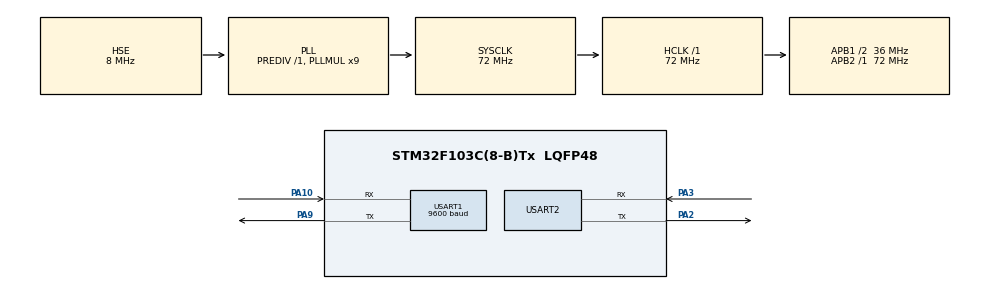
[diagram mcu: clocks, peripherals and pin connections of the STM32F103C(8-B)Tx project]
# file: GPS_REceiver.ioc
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Mcu.Family=STM32F1
Mcu.Name=STM32F103C(8-B)Tx
Mcu.Package=LQFP48
NVIC.PriorityGroup=NVIC_PRIORITYGROUP_4
NVIC.TIM1_UP_IRQn=true\:0\:0\:false\:false\:true\:true\:true
NVIC.USART1_IRQn=true\:0\:0\:false\:false\:true\:true\:true
PA10.Mode=Asynchronous
PA10.Signal=USART1_RX
PA13.Mode=Serial_Wire
PA13.Signal=SYS_JTMS-SWDIO
PA14.Mode=Serial_Wire
PA14.Signal=SYS_JTCK-SWCLK
PA2.Mode=Asynchronous
PA2.Signal=USART2_TX
PA3.Mode=Asynchronous
PA3.Signal=USART2_RX
PA9.Mode=Asynchronous
PA9.Signal=USART1_TX
PD0-OSC_IN.Mode=HSE-External-Oscillator
PD0-OSC_IN.Signal=RCC_OSC_IN
PD1-OSC_OUT.Mode=HSE-External-Oscillator
PD1-OSC_OUT.Signal=RCC_OSC_OUT
ProjectManager.HeapSize=0x200
ProjectManager.StackSize=0x400
ProjectManager.TargetToolchain=STM32CubeIDE
RCC.AHBFreq_Value=72000000
RCC.APB1CLKDivider=RCC_HCLK_DIV2
RCC.APB1Freq_Value=36000000
RCC.APB1TimFreq_Value=72000000
RCC.APB2Freq_Value=72000000
RCC.APB2TimFreq_Value=72000000
RCC.HCLKFreq_Value=72000000
RCC.PLLMUL=RCC_PLL_MUL9
RCC.PLLSourceVirtual=RCC_PLLSOURCE_HSE
RCC.SYSCLKFreq_VALUE=72000000
RCC.SYSCLKSource=RCC_SYSCLKSOURCE_PLLCLK
RCC.USBFreq_Value=72000000
TIM1.Period=1000-1
TIM1.Prescaler=72-1
USART1.BaudRate=9600
USART1.VirtualMode=VM_ASYNC
USART2.VirtualMode=VM_ASYNC
VP_TIM1_VS_ClockSourceINT.Mode=Internal
board=custom

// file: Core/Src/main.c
/* USER CODE BEGIN Header */
/**
 ******************************************************************************
 * @file           : main.c
 * @brief          : Main program body
 ******************************************************************************
 * @attention
 *
 * <h2><center>&copy; Copyright (c) 2024 STMicroelectronics.
 * All rights reserved.</center></h2>
 *
 * This software component is licensed by ST under BSD 3-Clause license,
 * the "License"; You may not use this file except in compliance with the
 * License. You may obtain a copy of the License at:
 *                        opensource.org/licenses/BSD-3-Clause
 *
 ******************************************************************************
 */
/* USER CODE END Header */
#include "main.h"

/* USER CODE BEGIN Includes */
#include "UARTRingBuffer.h"
#include "NMEA.h"
#include "stdio.h"
#include "stdarg.h"
#include "string.h"

/* USER CODE END Includes */

TIM_HandleTypeDef htim1;

UART_HandleTypeDef huart1;
UART_HandleTypeDef huart2;

/* USER CODE BEGIN PV */
char GGA[100];
char RMC[100];
GPSSTRUCT gpsData;
char GPSBuffer[31];

int flagGPS = 0;
int flagGGA = 0, flagRMC = 0;

int GPSFlag = 0;

uint32_t mSEC = 0;
uint32_t s = 0;
uint8_t m = 0;
uint8_t h = 0;

int count = 0;
int data;

/* USER CODE END PV */

void SystemClock_Config(void);
static void MX_GPIO_Init(void);
static void MX_USART1_UART_Init(void);
static void MX_TIM1_Init(void);
static void MX_USART2_UART_Init(void);
/* USER CODE BEGIN PFP */
void getGPSData();
int bufferSize(char *buffer);
void myDebug(const char *fmt, ...);

/* USER CODE END PFP */

/* USER CODE BEGIN 0 */

void HAL_TIM_PeriodElapsedCallback(TIM_HandleTypeDef *htim) {

	if (htim == &htim1) {
		mSEC++;

		if (mSEC > 999) {
			mSEC = 0;
			s++;
			count++;
		}

		if (count == 10) {
			GPSFlag = 1;
			count = 0;
		}

		if (s > 59) {
			s = 0;
			m++;
		}

		if (m > 59) {
			m = 0;
			h++;
		}

		if (h > 23) {
			h = 0;
			m = 0;
			s = 0;
		}
	}
}

void myDebug(const char *fmt, ...) {
	static char temp[100];
	va_list args;
	va_start(args, fmt);
	vsnprintf(temp, sizeof(temp), fmt, args);
	va_end(args);
	int len = bufferSize(temp);
	HAL_UART_Transmit(&huart2, (uint8_t*) temp, len, 1000);
}

int bufferSize(char *buffer) {
	int i = 0;
	while (*buffer++ != '\0')
		i++;
	return i;
}

void getGPSData() {

	if (Wait_for("RMC") == 1) {
		Copy_upto("*", RMC);
//		for (int i = 0; i < sizeof(RMC); i++) {
//			myDebug("%c", RMC[i]);
//		}
//		myDebug("\r\n");

		int inx = 0;
		while (RMC[inx] != ',')
			inx++;  // 1st  ,
		inx++;
		while (RMC[inx] != ',')
			inx++; // after time ,
		inx++;
		if (RMC[inx] == 'A') {
			if (decodeRMC(RMC, &gpsData.rmcstruct) == 0)
				flagRMC = 2;  // 2 indicates the data is valid
			else
				flagRMC = 1;  // 1 indicates the data is invalid
		}
		//myDebug("$\r\n");
	}

	if (Wait_for("GGA") == 1) { // if 'GGA' detected then returns 1
		Copy_upto("*", GGA);
//		for (int i = 0; i < sizeof(GGA); i++) {
//			myDebug("%c", GGA[i]);
//		}
//		myDebug("\r\n");

		int inx = 0;
		while (GGA[inx] != ',')
			inx++; // 1st ','
		inx++;
		while (GGA[inx] != ',')
			inx++; //After time ','
		inx++;
		while (GGA[inx] != ',')
			inx++; // after latitude ','
		inx++;
		while (GGA[inx] != ',')
			inx++; //After NS ','
		inx++;
		while (GGA[inx] != ',')
			inx++; // After longitude ','
		inx++;
		while (GGA[inx] != ',')
			inx++; //After EW ','
		inx++; // reach the character to identify the fix

		if (GGA[inx] == '1') {
			if (decodeGGA(GGA, &gpsData.ggastruct) == 0)
				flagGGA = 2;  // 2 indicates the data is valid
			else
				flagGGA = 1;  // 1 indicates the data is invalid
		}
		//myDebug("*\r\n");
	}

	if ((flagGGA == 2) | (flagRMC == 2)) {

		sprintf(GPSBuffer, "%02d%02d%02d,%02d%02d%02d,%.2f%c,%.2f%c,%.2f",
				gpsData.ggastruct.tim.hour, gpsData.ggastruct.tim.min,
				gpsData.ggastruct.tim.sec,

				gpsData.rmcstruct.date.Day, gpsData.rmcstruct.date.Mon,
				gpsData.rmcstruct.date.Yr,

				gpsData.ggastruct.location.latitude,
				gpsData.ggastruct.location.NS,
				gpsData.ggastruct.location.longitude,
				gpsData.ggastruct.location.EW,

				gpsData.rmcstruct.speed);

		myDebug(GPSBuffer);
		myDebug("\r\n");
	}

	flagGGA = 0;
	flagRMC = 0;
	memset(RMC, '\0', sizeof(RMC));
	memset(GGA, '\0', sizeof(GGA));
	memset(GPSBuffer, '\0', sizeof(GPSBuffer));
	Uart_flush();
}

/* USER CODE END 0 */

int main(void) {

	/* MCU Configuration--------------------------------------------------------*/

	/* Reset of all peripherals, Initializes the Flash interface and the Systick. */
	HAL_Init();

	/* Configure the system clock */
	SystemClock_Config();

	/* Initialize all configured peripherals */
	MX_GPIO_Init();
	MX_USART1_UART_Init();
	MX_TIM1_Init();
	MX_USART2_UART_Init();
	/* USER CODE BEGIN 2 */
	HAL_TIM_Base_Start_IT(&htim1);

	Ringbuf_init();
	HAL_Delay(500);

	/* USER CODE END 2 */

	/* Infinite loop */
	while (1) {

		/* USER CODE BEGIN 3 */
		if (GPSFlag) {
			getGPSData();
			HAL_Delay(2000);
			GPSFlag = 0;
		}
	}
	/* USER CODE END 3 */
}

void SystemClock_Config(void) {
	RCC_OscInitTypeDef RCC_OscInitStruct = { 0 };
	RCC_ClkInitTypeDef RCC_ClkInitStruct = { 0 };

	/** Initializes the RCC Oscillators according to the specified parameters
	 * in the RCC_OscInitTypeDef structure.
	 */
	RCC_OscInitStruct.OscillatorType = RCC_OSCILLATORTYPE_HSE;
	RCC_OscInitStruct.HSEState = RCC_HSE_ON;
	RCC_OscInitStruct.HSEPredivValue = RCC_HSE_PREDIV_DIV1;
	RCC_OscInitStruct.HSIState = RCC_HSI_ON;
	RCC_OscInitStruct.PLL.PLLState = RCC_PLL_ON;
	RCC_OscInitStruct.PLL.PLLSource = RCC_PLLSOURCE_HSE;
	RCC_OscInitStruct.PLL.PLLMUL = RCC_PLL_MUL9;
	if (HAL_RCC_OscConfig(&RCC_OscInitStruct) != HAL_OK) {
		Error_Handler();
	}
	/** Initializes the CPU, AHB and APB buses clocks
	 */
	RCC_ClkInitStruct.ClockType = RCC_CLOCKTYPE_HCLK | RCC_CLOCKTYPE_SYSCLK
			| RCC_CLOCKTYPE_PCLK1 | RCC_CLOCKTYPE_PCLK2;
	RCC_ClkInitStruct.SYSCLKSource = RCC_SYSCLKSOURCE_PLLCLK;
	RCC_ClkInitStruct.AHBCLKDivider = RCC_SYSCLK_DIV1;
	RCC_ClkInitStruct.APB1CLKDivider = RCC_HCLK_DIV2;
	RCC_ClkInitStruct.APB2CLKDivider = RCC_HCLK_DIV1;

	if (HAL_RCC_ClockConfig(&RCC_ClkInitStruct, FLASH_LATENCY_2) != HAL_OK) {
		Error_Handler();
	}
}

static void MX_TIM1_Init(void) {

	TIM_ClockConfigTypeDef sClockSourceConfig = { 0 };
	TIM_MasterConfigTypeDef sMasterConfig = { 0 };

	htim1.Instance = TIM1;
	htim1.Init.Prescaler = 72 - 1;
	htim1.Init.CounterMode = TIM_COUNTERMODE_UP;
	htim1.Init.Period = 1000 - 1;
	htim1.Init.ClockDivision = TIM_CLOCKDIVISION_DIV1;
	htim1.Init.RepetitionCounter = 0;
	htim1.Init.AutoReloadPreload = TIM_AUTORELOAD_PRELOAD_DISABLE;
	if (HAL_TIM_Base_Init(&htim1) != HAL_OK) {
		Error_Handler();
	}
	sClockSourceConfig.ClockSource = TIM_CLOCKSOURCE_INTERNAL;
	if (HAL_TIM_ConfigClockSource(&htim1, &sClockSourceConfig) != HAL_OK) {
		Error_Handler();
	}
	sMasterConfig.MasterOutputTrigger = TIM_TRGO_RESET;
	sMasterConfig.MasterSlaveMode = TIM_MASTERSLAVEMODE_DISABLE;
	if (HAL_TIMEx_MasterConfigSynchronization(&htim1, &sMasterConfig)
			!= HAL_OK) {
		Error_Handler();
	}

}

static void MX_USART1_UART_Init(void) {

	huart1.Instance = USART1;
	huart1.Init.BaudRate = 9600;
	huart1.Init.WordLength = UART_WORDLENGTH_8B;
	huart1.Init.StopBits = UART_STOPBITS_1;
	huart1.Init.Parity = UART_PARITY_NONE;
	huart1.Init.Mode = UART_MODE_TX_RX;
	huart1.Init.HwFlowCtl = UART_HWCONTROL_NONE;
	huart1.Init.OverSampling = UART_OVERSAMPLING_16;
	if (HAL_UART_Init(&huart1) != HAL_OK) {
		Error_Handler();
	}

}

static void MX_USART2_UART_Init(void) {

	huart2.Instance = USART2;
	huart2.Init.BaudRate = 115200;
	huart2.Init.WordLength = UART_WORDLENGTH_8B;
	huart2.Init.StopBits = UART_STOPBITS_1;
	huart2.Init.Parity = UART_PARITY_NONE;
	huart2.Init.Mode = UART_MODE_TX_RX;
	huart2.Init.HwFlowCtl = UART_HWCONTROL_NONE;
	huart2.Init.OverSampling = UART_OVERSAMPLING_16;
	if (HAL_UART_Init(&huart2) != HAL_OK) {
		Error_Handler();
	}

}

static void MX_GPIO_Init(void) {

	/* GPIO Ports Clock Enable */
	__HAL_RCC_GPIOD_CLK_ENABLE();
	__HAL_RCC_GPIOA_CLK_ENABLE();

}

void Error_Handler(void) {
	__disable_irq();
	while (1) {
	}
}

/************************ (C) COPYRIGHT STMicroelectronics *****END OF FILE****/
